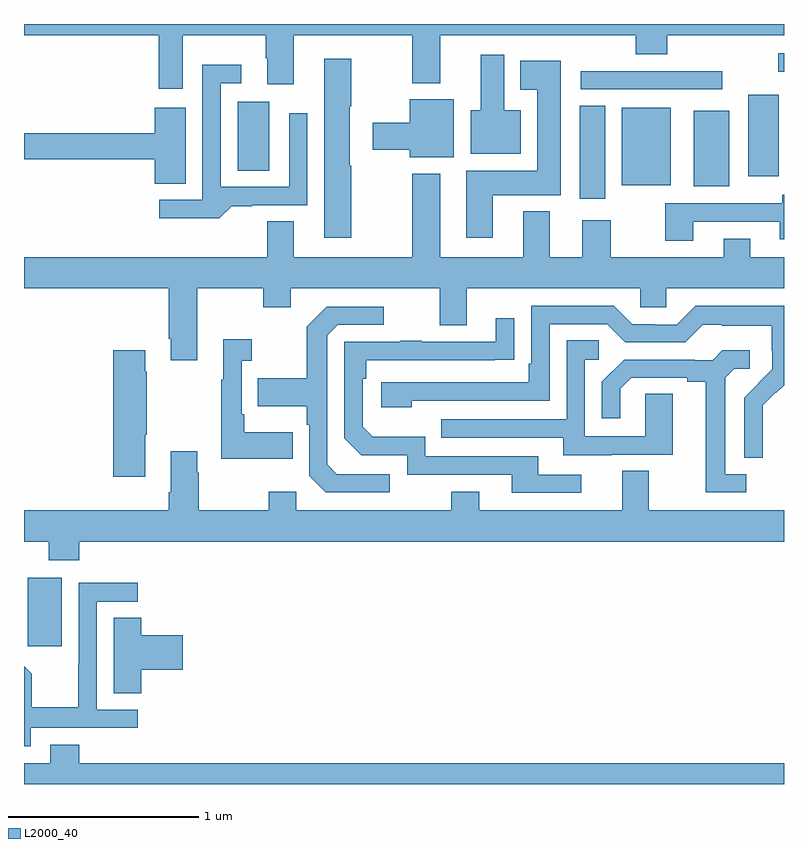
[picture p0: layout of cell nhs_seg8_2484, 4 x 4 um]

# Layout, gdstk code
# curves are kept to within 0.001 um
import gdstk
lib = gdstk.Library(unit=1e-6, precision=1e-09)
def R(c, l, rs):  # rectangles x0, y0, x1, y1
    for r in rs: c.add(gdstk.rectangle(r[:2], r[2:], *l))
def P(c, l, *ps):  # polygons
    for p in ps: c.add(gdstk.Polygon(p, *l))
L2000_40 = (2000, 40)

nhs_seg8_2484 = lib.new_cell('nhs_seg8_2484')
R(nhs_seg8_2484, L2000_40, [(267.02,1106.625,267.199,1106.986), (269.924,1108.98,270.058,1109.471), (270.524,1109.045,270.712,1109.443), (270.146,1109.051,270.403,1109.458), (270.812,1109.1,270.973,1109.527), (268.124,1109.128,268.291,1109.491), (269.931,1109.556,270.676,1109.652), (270.969,1109.649,271,1109.745)])
P(nhs_seg8_2484, L2000_40, [(267.835,1109.84),(268.273,1109.84),(268.273,1109.72),(268.28,1109.72),(268.28,1109.583),(268.42,1109.583),(268.42,1109.84),(269.044,1109.84),(269.044,1109.588),(269.191,1109.588),(269.191,1109.84),(270.221,1109.84),(270.221,1109.741),(270.386,1109.741),(270.386,1109.84),(271,1109.84),(271,1109.9),(267,1109.9),(267,1109.84),(267.71,1109.84),(267.71,1109.559),(267.835,1109.559)],
  [(269.614,1109.446),(269.527,1109.446),(269.527,1109.737),(269.405,1109.737),(269.405,1109.446),(269.351,1109.446),(269.351,1109.216),(269.614,1109.216)],
  [(268.722,1109.153),(268.714,1109.153),(268.714,1109.467),(268.722,1109.467),(268.722,1109.716),(268.58,1109.716),(268.58,1108.776),(268.722,1108.776)],
  [(269.467,1109),(269.824,1109),(269.824,1109.707),(269.612,1109.707),(269.612,1109.555),(269.702,1109.555),(269.702,1109.128),(269.327,1109.128),(269.327,1108.776),(269.467,1108.776)],
  [(268.093,1108.942),(268.201,1108.942),(268.201,1108.947),(268.491,1108.947),(268.491,1109.431),(268.395,1109.431),(268.395,1109.043),(268.035,1109.043),(268.035,1109.589),(268.144,1109.589),(268.144,1109.686),(267.939,1109.686),(267.939,1108.974),(267.711,1108.974),(267.711,1108.877),(268.028,1108.877)],
  [(269.263,1109.503),(269.03,1109.503),(269.03,1109.379),(268.836,1109.379),(268.836,1109.237),(269.03,1109.237),(269.03,1109.198),(269.263,1109.198)],
  [(267.85,1109.458),(267.689,1109.458),(267.689,1109.324),(267,1109.324),(267,1109.188),(267.689,1109.188),(267.689,1109.059),(267.85,1109.059)],
  [(267.913,1108.508),(268.258,1108.508),(268.258,1108.409),(268.405,1108.409),(268.405,1108.508),(269.189,1108.508),(269.189,1108.314),(269.329,1108.314),(269.329,1108.508),(270.243,1108.508),(270.243,1108.41),(270.381,1108.41),(270.381,1108.508),(271,1108.508),(271,1108.672),(270.823,1108.672),(270.823,1108.771),(270.683,1108.771),(270.683,1108.672),(270.087,1108.672),(270.087,1108.867),(269.939,1108.867),(269.939,1108.672),(269.767,1108.672),(269.767,1108.915),(269.627,1108.915),(269.627,1108.672),(269.191,1108.672),(269.191,1109.113),(269.044,1109.113),(269.044,1108.672),(268.42,1108.672),(268.42,1108.862),(268.28,1108.862),(268.28,1108.672),(267,1108.672),(267,1108.508),(267.761,1108.508),(267.761,1108.243),(267.773,1108.243),(267.773,1108.131),(267.913,1108.131)],
  [(270.523,1108.86),(270.977,1108.86),(270.977,1108.766),(271,1108.766),(271,1109.002),(270.992,1109.002),(270.992,1108.956),(270.376,1108.956),(270.376,1108.758),(270.523,1108.758)],
  [(270.888,1107.77),(270.887,1107.893),(270.957,1107.963),(270.96,1107.96),(271,1108),(271,1108.417),(270.535,1108.417),(270.435,1108.317),(270.32,1108.317),(270.32,1108.32),(270.201,1108.32),(270.105,1108.416),(269.67,1108.416),(269.67,1108.111),(269.657,1108.111),(269.657,1108.014),(268.881,1108.014),(268.881,1107.884),(269.042,1107.884),(269.042,1107.918),(269.766,1107.918),(269.766,1108.32),(270.069,1108.32),(270.165,1108.224),(270.48,1108.224),(270.573,1108.317),(270.673,1108.317),(270.673,1108.313),(270.936,1108.313),(270.936,1108.179),(270.938,1108.179),(270.938,1108.082),(270.792,1107.934),(270.792,1107.616),(270.888,1107.616)],
  [(268.924,1107.531),(268.647,1107.531),(268.596,1107.582),(268.596,1108.263),(268.65,1108.317),(268.894,1108.317),(268.894,1108.413),(268.593,1108.413),(268.488,1108.307),(268.488,1108.035),(268.231,1108.035),(268.231,1107.887),(268.488,1107.887),(268.488,1107.791),(268.5,1107.791),(268.5,1107.522),(268.587,1107.435),(268.924,1107.435)],
  [(269.932,1107.528),(269.707,1107.528),(269.707,1107.624),(269.112,1107.624),(269.112,1107.727),(268.835,1107.727),(268.782,1107.78),(268.782,1108.034),(268.802,1108.034),(268.802,1108.131),(269.579,1108.132),(269.579,1108.351),(269.483,1108.351),(269.483,1108.227),(269.093,1108.227),(269.093,1108.232),(268.981,1108.232),(268.981,1108.227),(268.686,1108.227),(268.686,1107.72),(268.776,1107.63),(269.016,1107.63),(269.016,1107.528),(269.567,1107.528),(269.567,1107.432),(269.932,1107.432)],
  [(268.415,1107.751),(268.159,1107.751),(268.159,1107.847),(268.146,1107.847),(268.146,1108.127),(268.198,1108.127),(268.198,1108.24),(268.049,1108.24),(268.049,1108.027),(268.038,1108.027),(268.038,1107.611),(268.415,1107.611)],
  [(270.091,1107.633),(270.415,1107.633),(270.415,1107.953),(270.27,1107.953),(270.27,1107.729),(269.952,1107.729),(269.952,1108.134),(270.025,1108.134),(270.025,1108.235),(269.856,1108.235),(269.856,1107.819),(269.197,1107.819),(269.197,1107.723),(269.837,1107.723),(269.837,1107.629),(270.091,1107.629)],
  [(270.802,1107.531),(270.691,1107.531),(270.691,1108.039),(270.738,1108.086),(270.82,1108.086),(270.82,1108.183),(270.676,1108.183),(270.624,1108.131),(270.53,1108.131),(270.53,1108.134),(270.158,1108.134),(270.042,1108.018),(270.042,1107.825),(270.139,1107.825),(270.139,1107.981),(270.196,1108.038),(270.491,1108.038),(270.491,1108.016),(270.587,1108.016),(270.587,1107.435),(270.802,1107.435)],
  [(267.637,1107.739),(267.645,1107.739),(267.645,1108.07),(267.637,1108.07),(267.637,1108.183),(267.47,1108.183),(267.47,1107.516),(267.637,1107.516)],
  [(267.29,1107.176),(271,1107.176),(271,1107.34),(270.289,1107.34),(270.289,1107.548),(270.149,1107.548),(270.149,1107.34),(269.395,1107.34),(269.395,1107.439),(269.248,1107.439),(269.248,1107.34),(268.434,1107.34),(268.434,1107.439),(268.288,1107.439),(268.288,1107.34),(267.921,1107.34),(267.921,1107.539),(267.913,1107.539),(267.913,1107.652),(267.773,1107.652),(267.773,1107.436),(267.761,1107.436),(267.761,1107.34),(267,1107.34),(267,1107.176),(267.13,1107.176),(267.13,1107.077),(267.29,1107.077)],
  [(267.036,1106.196),(267.598,1106.196),(267.598,1106.292),(267.384,1106.292),(267.384,1106.859),(267.598,1106.859),(267.598,1106.958),(267.288,1106.958),(267.288,1106.528),(267.286,1106.528),(267.286,1106.305),(267.041,1106.305),(267.041,1106.479),(267,1106.52),(267,1106.099),(267.036,1106.099)],
  [(267.617,1106.501),(267.835,1106.501),(267.835,1106.684),(267.617,1106.684),(267.617,1106.774),(267.473,1106.774),(267.473,1106.377),(267.617,1106.377)],
  [(271,1106.008),(267.29,1106.008),(267.29,1106.107),(267.137,1106.107),(267.137,1106.008),(267,1106.008),(267,1105.9),(271,1105.9)])

lib.write_gds('nhs_seg8_2484.gds')
